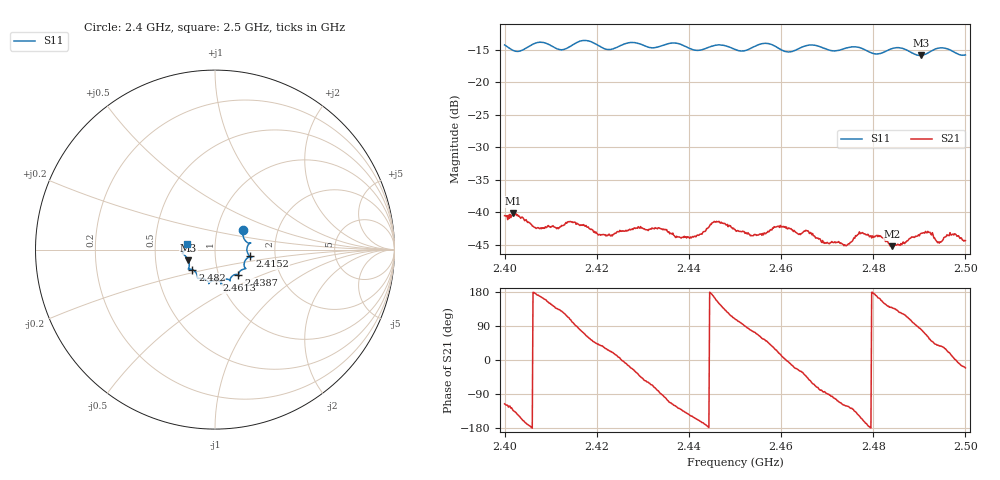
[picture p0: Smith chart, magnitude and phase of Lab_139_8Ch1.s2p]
# Hz S RI R 50
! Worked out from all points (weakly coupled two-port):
!   601 points, 2.4 GHz to 2.5 GHz, reference 50 ohm
!   highest |S21| = -40.17 dB at 2.4018 GHz (marker M1); lowest = -45.2 dB at 2.4842 GHz (marker M2)
!   lowest |S11| = -15.9 dB at 2.4903 GHz (marker M3), VSWR 1.38, Z = 36.8 - j4.45 ohm
!   |S11| at or under -10 dB: start of sweep to end of sweep
!   S12 and S22 are empty: the file has one direction only
!   S11 on the Smith chart (normalised r, x): 2.4 GHz: 1.33, +0.31; 2.4152 GHz: 1.48, -0.11; 2.4387 GHz: 1.24, -0.37; 2.4613 GHz: 0.96, -0.34; 2.482 GHz: 0.76, -0.17; 2.5 GHz: 0.72, +0.05
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2.4e9  0.1579 0.1115  -0.00408 -0.00847  0 0  0 0
2.401833e9  0.1553 0.0818  -0.00669 -0.00717  0 0  0 0
2.407167e9  0.1986 0.036  -0.00751 0.00119  0 0  0 0
2.415167e9  0.1937 -0.0373  -0.000592 0.00836  0 0  0 0
2.416667e9  0.2035 -0.0437  0.00184 0.0077  0 0  0 0
2.4225e9  0.1658 -0.0653  0.00597 0.00298  0 0  0 0
2.433333e9  0.1323 -0.1319  0.00118 -0.00748  0 0  0 0
2.438667e9  0.1303 -0.1418  -0.00448 -0.00458  0 0  0 0
2.446e9  0.0837 -0.1739  -0.00783 0.00329  0 0  0 0
2.45e9  0.0691 -0.1649  -0.0023 0.00699  0 0  0 0
2.456833e9  0.038 -0.1951  0.00442 0.00536  0 0  0 0
2.461333e9  0.00799 -0.1708  0.00743 -0.000332  0 0  0 0
2.466667e9  -0.0345 -0.1902  0.00335 -0.0058  0 0  0 0
2.474e9  -0.0873 -0.1602  -0.00285 -0.00473  0 0  0 0
2.477333e9  -0.0969 -0.1554  -0.00613 -0.00308  0 0  0 0
2.482e9  -0.126 -0.1116  -0.0057 0.0028  0 0  0 0
2.483333e9  -0.1397 -0.1086  -0.00453 0.00352  0 0  0 0
2.484167e9  -0.1458 -0.1087  -0.00402 0.00371  0 0  0 0
2.490333e9  -0.1492 -0.0589  0.00106 0.00677  0 0  0 0
2.494833e9  -0.1826 -0.0201  0.00481 0.00349  0 0  0 0
2.497167e9  -0.1732 -0.00974  0.00667 0.00109  0 0  0 0
2.5e9  -0.1587 0.0327  0.00564 -0.00216  0 0  0 0
